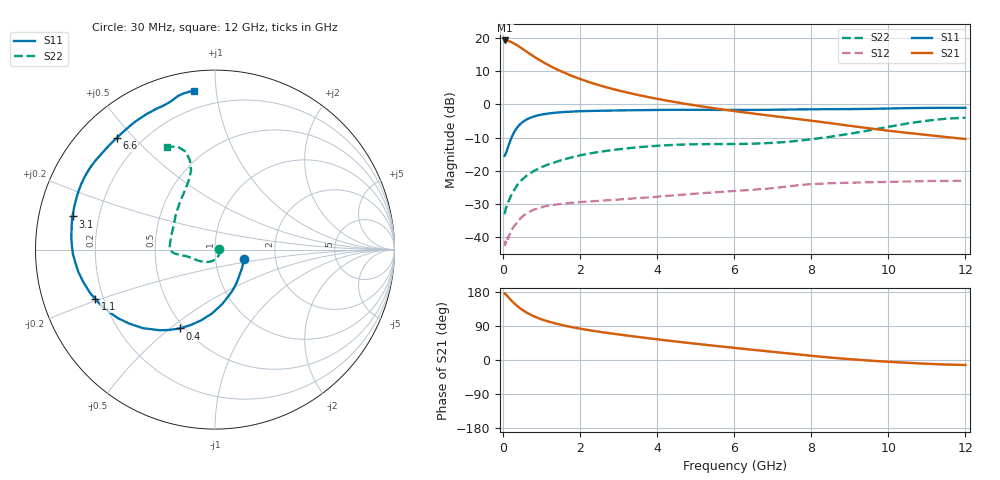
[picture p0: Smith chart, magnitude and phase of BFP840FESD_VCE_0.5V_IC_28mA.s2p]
! Infineon Technologies  Discrete & RF Semiconductors
! BFP840FESD
! VCE =  0.5 V,  IC =  28 mA
! Common Emitter S-Parameters:  May 2012
# GHz  S  MA  R  50
!  f  S11  S21  S12  S22
! GHz  MAG  ANG  MAG  ANG  MAG  ANG  MAG  ANG
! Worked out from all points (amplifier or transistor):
!   103 points, 30 MHz to 12 GHz, reference 50 ohm
!   highest |S21| = 19.3 dB at 40 MHz (marker M1)
!   |S21| within 3 dB of that: start of sweep to 553.6 MHz
!   unconditionally stable (mu >= 1): start of sweep to end of sweep
!   at 400 MHz: K = 2.84, MAG = 18.8 dB, |S12| = -34.8 dB
!   at 3.7 GHz: K = 3.00, MAG = 7.6 dB, |S12| = -28.1 dB
!   at 12 GHz: K = 3.40, MAG = -1.9 dB, |S12| = -23.0 dB
!   S11 on the Smith chart (normalised r, x): 30 MHz: 1.37, -0.15; 400 MHz: 0.47, -0.54; 1.1 GHz: 0.17, -0.19; 3.1 GHz: 0.10, +0.11; 6.6 GHz: 0.11, +0.45; 12 GHz: 0.10, +0.87
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0.03  0.1686 -18.8  9.233 175.5  0.0073 14.7  0.0222 5.3
0.04  0.1718 -24.4  9.238 174.4  0.0077 15.4  0.0239 -0.9
0.05  0.1774 -30.0  9.22 174.6  0.0086 21.6  0.0246 -6.5
0.13  0.2385 -63.7  9.054 165.3  0.0098 29.2  0.0342 -45.9
0.2  0.3075 -82.7  8.745 157.6  0.0123 36.6  0.0425 -67.4
0.25  0.3562 -92.7  8.479 152.5  0.014 38.1  0.0481 -79.5
0.3  0.4012 -101.0  8.168 147.7  0.0151 40.1  0.0537 -88.7
0.4  0.4817 -114.2  7.514 139.1  0.0182 40.1  0.0656 -104.1
0.5  0.544 -124.3  6.871 131.7  0.0207 39.4  0.0751 -115.3
0.6  0.5939 -132.5  6.266 125.3  0.0227 38.0  0.0842 -124.8
0.7  0.6311 -139.2  5.722 119.8  0.0245 36.7  0.0921 -132.4
0.9  0.6862 -149.8  4.825 110.8  0.0271 33.4  0.1071 -143.9
1.1  0.7214 -157.6  4.125 103.7  0.0292 31.0  0.1204 -152.0
1.5  0.7637 -168.7  3.16 92.9  0.0316 28.1  0.144 -162.2
2.1  0.7945 -180.0  2.304 80.8  0.0341 26.2  0.1759 -168.8
3.1  0.815 166.9  1.571 66.0  0.0373 26.7  0.2144 -173.2
4.1  0.8282 155.8  1.186 53.3  0.0413 28.0  0.2403 -177.3
6.1  0.8274 136.5  0.782 30.9  0.0501 28.2  0.2541 165.1
6.6  0.829 131.3  0.716 25.7  0.0524 28.2  0.2579 157.8
8.5  0.8494 112.9  0.522 6.3  0.065 22.0  0.3268 127.0
10.5  0.8808 103.5  0.373 -7.4  0.069 15.8  0.5177 105.7
12  0.8906 97.6  0.302 -13.2  0.0707 14.0  0.6318 115.0
